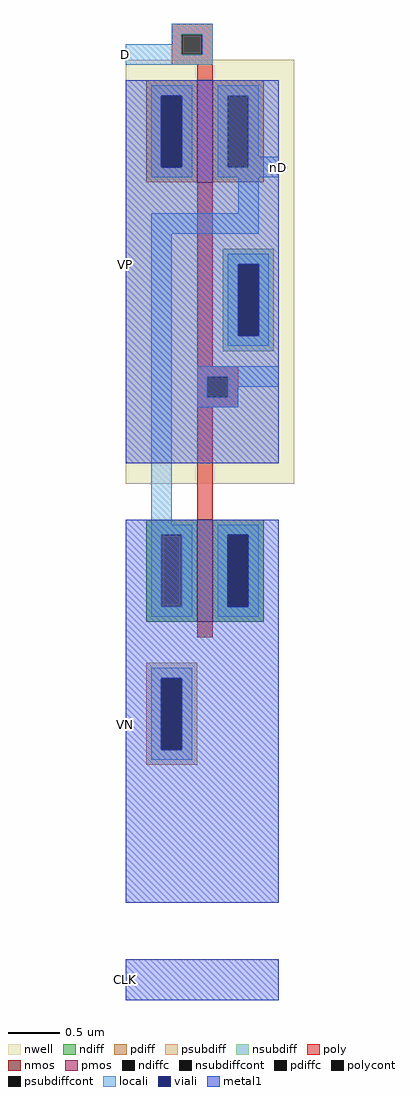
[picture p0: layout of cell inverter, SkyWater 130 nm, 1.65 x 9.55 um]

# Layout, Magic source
magic
tech sky130A
<< nwell >>
rect -145 500 20 915
<< nmos >>
rect -75 365 -60 465
<< pmos >>
rect -75 795 -60 895
<< ndiff >>
rect -125 450 -75 465
rect -125 380 -110 450
rect -90 380 -75 450
rect -125 365 -75 380
rect -60 450 -10 465
rect -60 380 -45 450
rect -25 380 -10 450
rect -60 365 -10 380
<< pdiff >>
rect -125 880 -75 895
rect -125 810 -110 880
rect -90 810 -75 880
rect -125 795 -75 810
rect -60 880 -10 895
rect -60 810 -45 880
rect -25 810 -10 880
rect -60 795 -10 810
<< ndiffc >>
rect -110 380 -90 450
rect -45 380 -25 450
<< pdiffc >>
rect -110 810 -90 880
rect -45 810 -25 880
<< psubdiff >>
rect -125 310 -75 325
rect -125 240 -110 310
rect -90 240 -75 310
rect -125 225 -75 240
<< nsubdiff >>
rect -50 715 0 730
rect -50 645 -35 715
rect -15 645 0 715
rect -50 630 0 645
<< psubdiffcont >>
rect -110 240 -90 310
<< nsubdiffcont >>
rect -35 645 -15 715
<< poly >>
rect -100 940 -60 950
rect -100 920 -90 940
rect -70 920 -60 940
rect -100 910 -60 920
rect -75 895 -60 910
rect -75 615 -60 795
rect -75 605 -35 615
rect -75 585 -65 605
rect -45 585 -35 605
rect -75 575 -35 585
rect -75 465 -60 575
rect -75 350 -60 365
<< polycont >>
rect -90 920 -70 940
rect -65 585 -45 605
<< locali >>
rect -100 940 -60 950
rect -100 930 -90 940
rect -145 920 -90 930
rect -70 920 -60 940
rect -145 910 -60 920
rect -120 880 -80 890
rect -120 810 -110 880
rect -90 810 -80 880
rect -120 800 -80 810
rect -55 880 -15 890
rect -55 810 -45 880
rect -25 820 -15 880
rect -25 810 5 820
rect -55 800 5 810
rect -35 765 -15 800
rect -120 745 -15 765
rect -120 460 -100 745
rect -45 715 -5 725
rect -45 645 -35 715
rect -15 645 -5 715
rect -45 635 -5 645
rect -75 605 5 615
rect -75 585 -65 605
rect -45 595 5 605
rect -45 585 -35 595
rect -75 575 -35 585
rect -120 450 -80 460
rect -120 380 -110 450
rect -90 380 -80 450
rect -120 370 -80 380
rect -55 450 -15 460
rect -55 380 -45 450
rect -25 380 -15 450
rect -55 370 -15 380
rect -120 310 -80 320
rect -120 240 -110 310
rect -90 240 -80 310
rect -120 230 -80 240
<< viali >>
rect -110 810 -90 880
rect -35 645 -15 715
rect -45 380 -25 450
rect -110 240 -90 310
<< metal1 >>
rect -145 880 5 895
rect -145 810 -110 880
rect -90 810 5 880
rect -145 715 5 810
rect -145 645 -35 715
rect -15 645 5 715
rect -145 520 5 645
rect -145 450 5 465
rect -145 380 -45 450
rect -25 380 5 450
rect -145 310 5 380
rect -145 240 -110 310
rect -90 240 5 310
rect -145 90 5 240
rect -145 -5 5 35
<< labels >>
rlabel locali -145 920 -145 920 7 D
port 1 w
rlabel metal1 -145 715 -145 715 7 VP
port 3 w
rlabel metal1 -145 265 -145 265 7 VN
port 4 w
rlabel metal1 -145 15 -145 15 7 CLK
port 2 w
rlabel locali 5 810 5 810 3 nD
port 5 e
<< end >>
